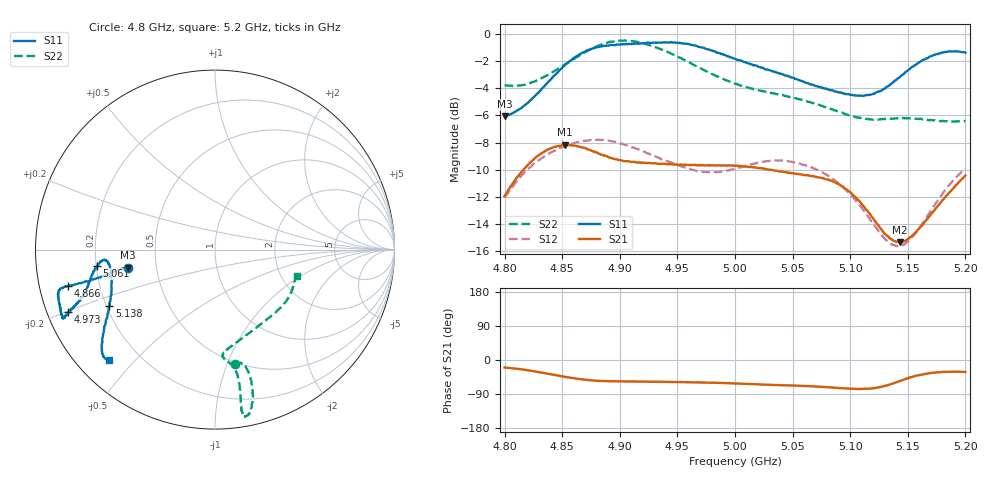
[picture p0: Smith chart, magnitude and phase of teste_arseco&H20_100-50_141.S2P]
! Network Analyzer HP8722D
! Hewlett-Packard
! Data name: Linha & Wilkinson
! Saver's name: Rodrigo Anjos
! Comments: Teste da utilização de aquisição
! continua pelo VNA HP8722D
! Time and date: 6/5/2025 13:44
!  Frequency  S11  S21  S12  S22
# HZ  S  MA R 50
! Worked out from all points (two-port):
!   401 points, 4.8 GHz to 5.2 GHz, reference 50 ohm
!   highest |S21| = -8.16 dB at 4.852 GHz (marker M1); lowest = -15.3 dB at 5.143 GHz (marker M2)
!   |S21| within 3 dB of the highest: 4.806 GHz to 5.092 GHz (286.2 MHz wide, 5.78 % of centre); 5.191438 GHz to end of sweep
!   lowest |S11| = -6.1 dB at 4.8 GHz (marker M3), VSWR 2.98, Z = 16.9 - j4.55 ohm
!   |S11| at or under -10 dB: nowhere
!   |S22| runs from -6.5 to -0.5 dB; largest |S21 - S12| = 0.62
!   S11 on the Smith chart (normalised r, x): 4.8 GHz: 0.34, -0.09; 4.866 GHz: 0.09, -0.12; 4.973 GHz: 0.06, -0.20; 5.061 GHz: 0.20, -0.07; 5.138 GHz: 0.21, -0.24; 5.2 GHz: 0.09, -0.42
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4.8e9  0.4976 -168.3  0.2532 -19.8  0.2499 -141.0  0.6475 -80.3
4.825e9  0.5829 -167.5  0.3448 -29.4  0.3323 -144.5  0.6658 -75.7
4.852e9  0.7656 -166.1  0.3909 -44.0  0.386 -149.7  0.7696 -74.6
4.866e9  0.8452 -166.0  0.3827 -50.5  0.4017 -152.1  0.8385 -75.4
4.867e9  0.8492 -166.1  0.3831 -51.0  0.4024 -152.3  0.842 -75.5
4.899e9  0.9122 -163.0  0.3437 -56.7  0.3976 -156.8  0.9429 -79.1
4.934e9  0.9294 -156.7  0.3325 -57.6  0.3504 -155.9  0.8822 -80.6
4.955e9  0.9215 -155.7  0.3299 -58.4  0.324 -151.7  0.8062 -79.9
4.973e9  0.8884 -156.9  0.3286 -59.6  0.3108 -146.0  0.7359 -79.8
5e9  0.8093 -159.3  0.3272 -62.0  0.3195 -137.4  0.6552 -81.3
5.036e9  0.7202 -165.8  0.3138 -66.1  0.3422 -134.6  0.6003 -85.7
5.061e9  0.6624 -172.1  0.3026 -68.6  0.3288 -136.4  0.5678 -83.9
5.067e9  0.6498 -173.3  0.3 -69.3  0.3231 -136.9  0.5573 -82.6
5.086e9  0.6156 -174.6  0.2854 -72.9  0.2903 -138.6  0.5242 -75.3
5.102e9  0.596 -171.8  0.257 -75.8  0.2521 -138.8  0.4979 -65.9
5.117e9  0.5963 -164.8  0.2176 -75.5  0.2086 -135.0  0.4848 -55.1
5.134e9  0.6459 -154.3  0.1776 -65.1  0.1703 -120.6  0.4876 -43.2
5.138e9  0.6684 -151.8  0.1734 -61.0  0.167 -115.4  0.4873 -40.7
5.143e9  0.6922 -149.4  0.1717 -55.6  0.1661 -108.8  0.4886 -38.0
5.154e9  0.7575 -144.5  0.1817 -44.4  0.1795 -95.1  0.4889 -32.3
5.173e9  0.8372 -139.1  0.2243 -33.2  0.2336 -80.9  0.4817 -24.3
5.2e9  0.852 -133.8  0.3013 -31.6  0.3195 -77.0  0.4773 -17.6
